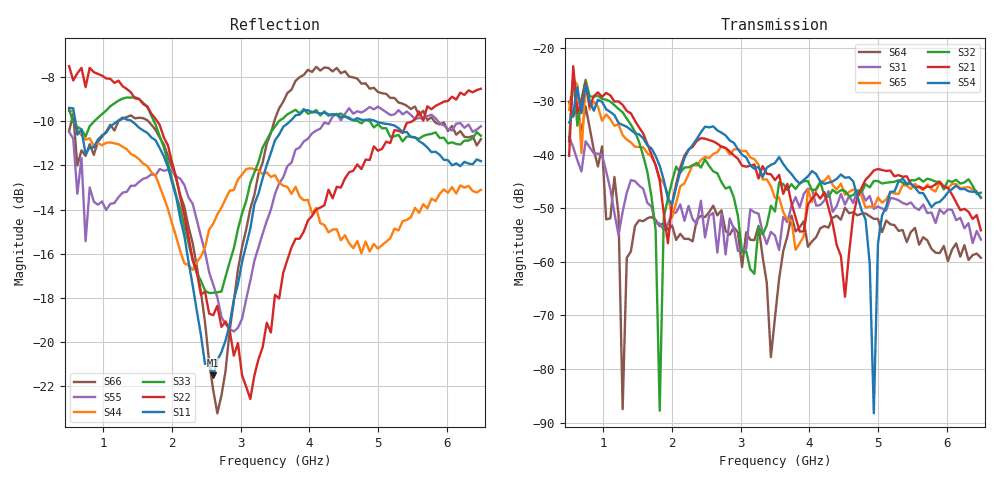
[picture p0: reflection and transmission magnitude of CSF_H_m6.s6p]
!Keysight Technologies,M9804A,MY58100912,A.14.10.03
!Date: Thursday, April 27, 2023 10:28:33
!Correction: S11(C  6-Port  )
!S12(C  6-Port  )
!S13(C  6-Port  )
!S14(C  6-Port  )
!S15(C  6-Port  )
!S16(C  6-Port  )
!S21(C  6-Port  )
!S22(C  6-Port  )
!S23(C  6-Port  )
!S24(C  6-Port  )
!S25(C  6-Port  )
!S26(C  6-Port  )
!S31(C  6-Port  )
!S32(C  6-Port  )
!S33(C  6-Port  )
!S34(C  6-Port  )
!S35(C  6-Port  )
!S36(C  6-Port  )
!S41(C  6-Port  )
!S42(C  6-Port  )
!S43(C  6-Port  )
!S44(C  6-Port  )
!S45(C  6-Port  )
!S46(C  6-Port  )
!S51(C  6-Port  )
!S52(C  6-Port  )
!S53(C  6-Port  )
!S54(C  6-Port  )
!S55(C  6-Port  )
!S56(C  6-Port  )
!S61(C  6-Port  )
!S62(C  6-Port  )
!S63(C  6-Port  )
!S64(C  6-Port  )
!S65(C  6-Port  )
!S66(C  6-Port  )
!S6P File: Measurement: :
# Hz S  RI  R 50
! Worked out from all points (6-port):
!   101 points, 500 MHz to 6.5 GHz, reference 50 ohm
!   strongest paths, dB at 500 MHz, 2 GHz, 3.5 GHz, 5 GHz, 6.5 GHz:
!     S54: -34.0, -49.3, -41.5, -56.7, -48.0
!     S21: -40.2, -49.1, -44.7, -42.6, -54.1
!     S32: -37.5, -45.0, -50.6, -44.9, -47.1
!     S65: -31.6, -51.7, -48.1, -48.0, -48.1
!     S31: -36.6, -50.9, -55.1, -49.7, -55.8
!     S64: -30.1, -53.2, -70.3, -52.0, -59.2
!   lowest |S11| = -21.5 dB at 2.6 GHz (marker M1), VSWR 1.18, Z = 42.5 + j2.14 ohm
!   |S11| at or under -10 dB: 589.9 MHz to 1.199 GHz (609.4 MHz wide, 68.1 % of centre); 1.418 GHz to 3.716 GHz (2.298 GHz wide, 89.5 % of centre); 4.973 GHz to end of sweep
